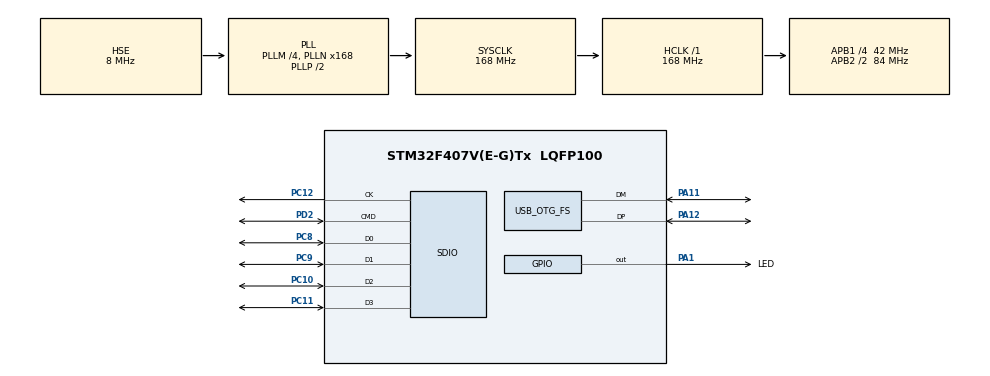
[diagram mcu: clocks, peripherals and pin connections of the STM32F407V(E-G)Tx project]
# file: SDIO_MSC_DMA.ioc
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Dma.Request0=SDIO_RX
Dma.Request1=SDIO_TX
Dma.SDIO_RX.0.Direction=DMA_PERIPH_TO_MEMORY
Dma.SDIO_RX.0.FIFOMode=DMA_FIFOMODE_ENABLE
Dma.SDIO_RX.0.FIFOThreshold=DMA_FIFO_THRESHOLD_FULL
Dma.SDIO_RX.0.Instance=DMA2_Stream3
Dma.SDIO_RX.0.MemBurst=DMA_MBURST_INC4
Dma.SDIO_RX.0.MemDataAlignment=DMA_MDATAALIGN_WORD
Dma.SDIO_RX.0.MemInc=DMA_MINC_ENABLE
Dma.SDIO_RX.0.Mode=DMA_PFCTRL
Dma.SDIO_RX.0.PeriphBurst=DMA_PBURST_INC4
Dma.SDIO_RX.0.PeriphDataAlignment=DMA_PDATAALIGN_WORD
Dma.SDIO_RX.0.PeriphInc=DMA_PINC_DISABLE
Dma.SDIO_RX.0.Priority=DMA_PRIORITY_LOW
Dma.SDIO_TX.1.Direction=DMA_MEMORY_TO_PERIPH
Dma.SDIO_TX.1.FIFOMode=DMA_FIFOMODE_ENABLE
Dma.SDIO_TX.1.FIFOThreshold=DMA_FIFO_THRESHOLD_FULL
Dma.SDIO_TX.1.Instance=DMA2_Stream6
Dma.SDIO_TX.1.MemBurst=DMA_MBURST_INC4
Dma.SDIO_TX.1.MemDataAlignment=DMA_MDATAALIGN_WORD
Dma.SDIO_TX.1.MemInc=DMA_MINC_ENABLE
Dma.SDIO_TX.1.Mode=DMA_PFCTRL
Dma.SDIO_TX.1.PeriphBurst=DMA_PBURST_INC4
Dma.SDIO_TX.1.PeriphDataAlignment=DMA_PDATAALIGN_WORD
Dma.SDIO_TX.1.PeriphInc=DMA_PINC_DISABLE
Dma.SDIO_TX.1.Priority=DMA_PRIORITY_LOW
Mcu.Family=STM32F4
Mcu.Name=STM32F407V(E-G)Tx
Mcu.Package=LQFP100
NVIC.DMA2_Stream3_IRQn=true\:0\:0\:false\:false\:true\:false\:true\:true
NVIC.DMA2_Stream6_IRQn=true\:0\:0\:false\:false\:true\:false\:true\:true
NVIC.OTG_FS_IRQn=true\:1\:0\:true\:false\:true\:false\:true\:true
NVIC.PriorityGroup=NVIC_PRIORITYGROUP_4
NVIC.SDIO_IRQn=true\:0\:0\:false\:false\:true\:true\:true\:true
PA1.GPIO_Label=LED
PA1.PinState=GPIO_PIN_SET
PA1.Signal=GPIO_Output
PA11.Mode=Device_Only
PA11.Signal=USB_OTG_FS_DM
PA12.Mode=Device_Only
PA12.Signal=USB_OTG_FS_DP
PA13.Mode=Serial_Wire
PA13.Signal=SYS_JTMS-SWDIO
PA14.Mode=Serial_Wire
PA14.Signal=SYS_JTCK-SWCLK
PC10.GPIO_PuPd=GPIO_PULLUP
PC10.Mode=SD_4_bits_Wide_bus
PC10.Signal=SDIO_D2
PC11.GPIO_PuPd=GPIO_PULLUP
PC11.Mode=SD_4_bits_Wide_bus
PC11.Signal=SDIO_D3
PC12.GPIO_PuPd=GPIO_PULLUP
PC12.Mode=SD_4_bits_Wide_bus
PC12.Signal=SDIO_CK
PC8.GPIO_PuPd=GPIO_PULLUP
PC8.Mode=SD_4_bits_Wide_bus
PC8.Signal=SDIO_D0
PC9.GPIO_PuPd=GPIO_PULLUP
PC9.Mode=SD_4_bits_Wide_bus
PC9.Signal=SDIO_D1
PD2.GPIO_PuPd=GPIO_PULLUP
PD2.Mode=SD_4_bits_Wide_bus
PD2.Signal=SDIO_CMD
PH0-OSC_IN.Mode=HSE-External-Oscillator
PH0-OSC_IN.Signal=RCC_OSC_IN
PH1-OSC_OUT.Mode=HSE-External-Oscillator
PH1-OSC_OUT.Signal=RCC_OSC_OUT
ProjectManager.HeapSize=0x800
ProjectManager.StackSize=0x1000
ProjectManager.TargetToolchain=STM32CubeIDE
RCC.48MHZClocksFreq_Value=48000000
RCC.AHBFreq_Value=168000000
RCC.APB1CLKDivider=RCC_HCLK_DIV4
RCC.APB1Freq_Value=42000000
RCC.APB1TimFreq_Value=84000000
RCC.APB2CLKDivider=RCC_HCLK_DIV2
RCC.APB2Freq_Value=84000000
RCC.APB2TimFreq_Value=168000000
RCC.CortexFreq_Value=168000000
RCC.HCLKFreq_Value=168000000
RCC.HSE_VALUE=8000000
RCC.HSI_VALUE=16000000
RCC.LSE_VALUE=32768
RCC.PLLM=4
RCC.PLLN=168
RCC.PLLQ=7
RCC.SYSCLKFreq_VALUE=168000000
RCC.SYSCLKSource=RCC_SYSCLKSOURCE_PLLCLK
RCC.VCOOutputFreq_Value=336000000
SDIO.ClockDiv=2
SDIO.HardwareFlowControl=SDIO_HARDWARE_FLOW_CONTROL_ENABLE
USB_DEVICE.CLASS_NAME_FS=MSC
USB_DEVICE.USBD_DEBUG_LEVEL-MSC_FS=3
USB_DEVICE.VirtualMode-MSC_FS=Msc
USB_DEVICE.VirtualModeFS=Msc_FS
USB_OTG_FS.VirtualMode=Device_Only
VP_USB_DEVICE_VS_USB_DEVICE_MSC_FS.Mode=MSC_FS
board=custom

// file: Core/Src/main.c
/* USER CODE BEGIN Header */
/**
  ******************************************************************************
  * @file           : main.c
  * @brief          : Main program body
  ******************************************************************************
  * @attention
  *
  * Copyright (c) 2022 STMicroelectronics.
  * All rights reserved.
  *
  * This software is licensed under terms that can be found in the LICENSE file
  * in the root directory of this software component.
  * If no LICENSE file comes with this software, it is provided AS-IS.
  *
  ******************************************************************************
  */
/* USER CODE END Header */
#include "main.h"
#include "usb_device.h"

/* USER CODE BEGIN PD */
#define b_s 0x200
/* USER CODE END PD */

 SD_HandleTypeDef hsd;
DMA_HandleTypeDef hdma_sdio_rx;
DMA_HandleTypeDef hdma_sdio_tx;

void SystemClock_Config(void);
static void MX_GPIO_Init(void);
static void MX_SDIO_SD_Init(void);
static void MX_DMA_Init(void);

int main(void)
{

  /* MCU Configuration--------------------------------------------------------*/

  /* Reset of all peripherals, Initializes the Flash interface and the Systick. */
  HAL_Init();

  /* Configure the system clock */
  SystemClock_Config();

  /* USER CODE BEGIN SysInit */
  MX_DMA_Init();
  MX_GPIO_Init();
  MX_SDIO_SD_Init();
  MX_USB_DEVICE_Init();
  /* USER CODE END SysInit */

  /* Initialize all configured peripherals */
  MX_GPIO_Init();
  MX_SDIO_SD_Init();
  MX_DMA_Init();
  MX_USB_DEVICE_Init();

  /* Infinite loop */
  while (1)
  {

  }
}

void SystemClock_Config(void)
{
  RCC_OscInitTypeDef RCC_OscInitStruct = {0};
  RCC_ClkInitTypeDef RCC_ClkInitStruct = {0};

  /** Configure the main internal regulator output voltage
  */
  __HAL_RCC_PWR_CLK_ENABLE();
  __HAL_PWR_VOLTAGESCALING_CONFIG(PWR_REGULATOR_VOLTAGE_SCALE1);

  /** Initializes the RCC Oscillators according to the specified parameters
  * in the RCC_OscInitTypeDef structure.
  */
  RCC_OscInitStruct.OscillatorType = RCC_OSCILLATORTYPE_HSE;
  RCC_OscInitStruct.HSEState = RCC_HSE_ON;
  RCC_OscInitStruct.PLL.PLLState = RCC_PLL_ON;
  RCC_OscInitStruct.PLL.PLLSource = RCC_PLLSOURCE_HSE;
  RCC_OscInitStruct.PLL.PLLM = 4;
  RCC_OscInitStruct.PLL.PLLN = 168;
  RCC_OscInitStruct.PLL.PLLP = RCC_PLLP_DIV2;
  RCC_OscInitStruct.PLL.PLLQ = 7;
  if (HAL_RCC_OscConfig(&RCC_OscInitStruct) != HAL_OK)
  {
    Error_Handler();
  }

  /** Initializes the CPU, AHB and APB buses clocks
  */
  RCC_ClkInitStruct.ClockType = RCC_CLOCKTYPE_HCLK|RCC_CLOCKTYPE_SYSCLK
                              |RCC_CLOCKTYPE_PCLK1|RCC_CLOCKTYPE_PCLK2;
  RCC_ClkInitStruct.SYSCLKSource = RCC_SYSCLKSOURCE_PLLCLK;
  RCC_ClkInitStruct.AHBCLKDivider = RCC_SYSCLK_DIV1;
  RCC_ClkInitStruct.APB1CLKDivider = RCC_HCLK_DIV4;
  RCC_ClkInitStruct.APB2CLKDivider = RCC_HCLK_DIV2;

  if (HAL_RCC_ClockConfig(&RCC_ClkInitStruct, FLASH_LATENCY_5) != HAL_OK)
  {
    Error_Handler();
  }
}

static void MX_SDIO_SD_Init(void)
{

  hsd.Instance = SDIO;
  hsd.Init.ClockEdge = SDIO_CLOCK_EDGE_RISING;
  hsd.Init.ClockBypass = SDIO_CLOCK_BYPASS_DISABLE;
  hsd.Init.ClockPowerSave = SDIO_CLOCK_POWER_SAVE_DISABLE;
  hsd.Init.BusWide = SDIO_BUS_WIDE_1B;
  hsd.Init.HardwareFlowControl = SDIO_HARDWARE_FLOW_CONTROL_ENABLE;
  hsd.Init.ClockDiv = 2;
  if (HAL_SD_Init(&hsd) != HAL_OK)
  {
    Error_Handler();
  }
  if (HAL_SD_ConfigWideBusOperation(&hsd, SDIO_BUS_WIDE_4B) != HAL_OK)
  {
    Error_Handler();
  }

}

static void MX_DMA_Init(void)
{

  /* DMA controller clock enable */
  __HAL_RCC_DMA2_CLK_ENABLE();

  /* DMA interrupt init */
  /* DMA2_Stream3_IRQn interrupt configuration */
  HAL_NVIC_SetPriority(DMA2_Stream3_IRQn, 0, 0);
  HAL_NVIC_EnableIRQ(DMA2_Stream3_IRQn);
  /* DMA2_Stream6_IRQn interrupt configuration */
  HAL_NVIC_SetPriority(DMA2_Stream6_IRQn, 0, 0);
  HAL_NVIC_EnableIRQ(DMA2_Stream6_IRQn);

}

static void MX_GPIO_Init(void)
{
  GPIO_InitTypeDef GPIO_InitStruct = {0};

  /* GPIO Ports Clock Enable */
  __HAL_RCC_GPIOH_CLK_ENABLE();
  __HAL_RCC_GPIOA_CLK_ENABLE();
  __HAL_RCC_GPIOC_CLK_ENABLE();
  __HAL_RCC_GPIOD_CLK_ENABLE();

  /*Configure GPIO pin Output Level */
  HAL_GPIO_WritePin(LED_GPIO_Port, LED_Pin, GPIO_PIN_SET);

  /*Configure GPIO pin : LED_Pin */
  GPIO_InitStruct.Pin = LED_Pin;
  GPIO_InitStruct.Mode = GPIO_MODE_OUTPUT_PP;
  GPIO_InitStruct.Pull = GPIO_NOPULL;
  GPIO_InitStruct.Speed = GPIO_SPEED_FREQ_LOW;
  HAL_GPIO_Init(LED_GPIO_Port, &GPIO_InitStruct);

}

void Error_Handler(void)
{
  /* USER CODE BEGIN Error_Handler_Debug */
	void HAL_Delay(__IO uint32_t Delay)
	{
	  while(Delay)
	  {
	    if (SysTick->CTRL & SysTick_CTRL_COUNTFLAG_Msk)
	    {
	      Delay--;
	    }
	  }
	}
  /* User can add his own implementation to report the HAL error return state */
  __disable_irq();
  while (1)
  {
	  uint8_t blink_delay = 100;
	  HAL_GPIO_TogglePin(LED_GPIO_Port, LED_Pin);
	  HAL_Delay(blink_delay);
	  HAL_GPIO_TogglePin(LED_GPIO_Port, LED_Pin);
	  HAL_Delay(blink_delay);
	  HAL_GPIO_TogglePin(LED_GPIO_Port, LED_Pin);
	  HAL_Delay(blink_delay);
	  HAL_GPIO_TogglePin(LED_GPIO_Port, LED_Pin);
	  HAL_Delay(2000);
  }
  /* USER CODE END Error_Handler_Debug */
}
